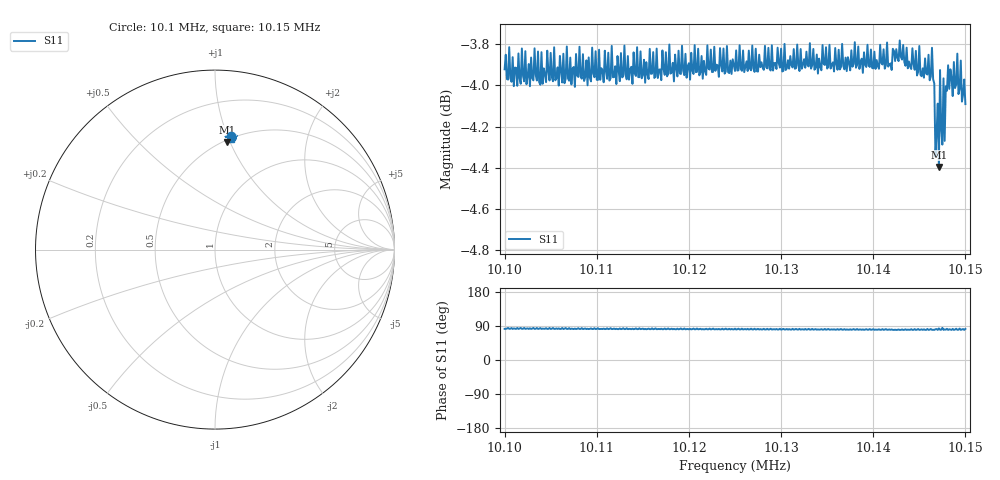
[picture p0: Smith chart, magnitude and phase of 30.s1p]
# Hz S RI R 50
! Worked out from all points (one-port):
!   401 points, 10.1 MHz to 10.15 MHz, reference 50 ohm
!   lowest |S11| = -4.4 dB at 10.1471 MHz (marker M1), VSWR 4.04, Z = 26 + j48.8 ohm
!   |S11| at or under -10 dB: nowhere
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1.01e7  0.087 0.6307
1.01005e7  0.0858 0.6389
1.010625e7  0.0612 0.629
1.010638e7  0.0917 0.6357
1.010762e7  0.0773 0.6257
1.01125e7  0.0745 0.6281
1.0113e7  0.095 0.6382
1.011362e7  0.0875 0.6306
1.011612e7  0.0988 0.6352
1.011875e7  0.0809 0.629
1.011925e7  0.0992 0.6375
1.0125e7  0.082 0.6308
1.013125e7  0.0858 0.6315
1.01375e7  0.0993 0.6285
1.0138e7  0.1125 0.6366
1.014112e7  0.1162 0.6333
1.014238e7  0.1112 0.6299
1.014375e7  0.1095 0.6276
1.014612e7  0.1087 0.6234
1.014675e7  0.0933 0.5991
1.014688e7  0.0887 0.608
1.014712e7  0.0684 0.5989
1.014775e7  0.0986 0.6037
1.014788e7  0.1099 0.621
1.0149e7  0.0818 0.6259
1.014912e7  0.1149 0.6319
1.014975e7  0.0911 0.6212
1.015e7  0.0866 0.6184
